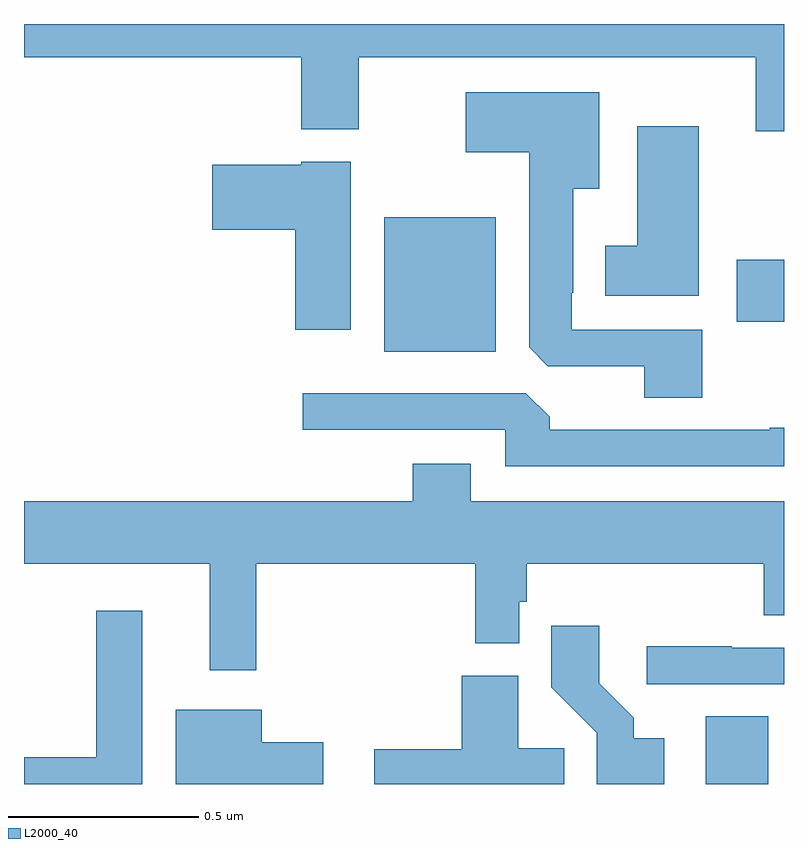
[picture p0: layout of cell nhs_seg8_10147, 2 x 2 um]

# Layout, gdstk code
import gdstk
lib = gdstk.Library(unit=1e-6, precision=1e-09)
def R(c, l, rs):  # rectangles x0, y0, x1, y1
    for r in rs: c.add(gdstk.rectangle(r[:2], r[2:], *l))
def P(c, l, *ps):  # polygons
    for p in ps: c.add(gdstk.Polygon(p, *l))
L2000_40 = (2000, 40)

nhs_seg8_10147 = lib.new_cell('nhs_seg8_10147')
R(nhs_seg8_10147, L2000_40, [(246.794,1135.9,246.958,1136.078), (245.948,1137.038,246.241,1137.391), (246.876,1137.116,247,1137.279)])
P(nhs_seg8_10147, L2000_40, [(247,1137.9),(245,1137.9),(245,1137.812),(245.729,1137.812),(245.729,1137.623),(245.881,1137.623),(245.881,1137.812),(246.926,1137.812),(246.926,1137.618),(247,1137.618)],
  [(246.785,1137.096),(246.441,1137.096),(246.441,1137.193),(246.445,1137.193),(246.445,1137.467),(246.514,1137.467),(246.514,1137.721),(246.162,1137.721),(246.162,1137.563),(246.329,1137.563),(246.329,1137.049),(246.378,1137),(246.632,1137),(246.632,1136.917),(246.785,1136.917)],
  [(246.775,1137.631),(246.614,1137.631),(246.614,1137.316),(246.53,1137.316),(246.53,1137.185),(246.775,1137.185)],
  [(245.86,1137.538),(245.73,1137.538),(245.73,1137.529),(245.496,1137.529),(245.496,1137.359),(245.714,1137.359),(245.714,1137.096),(245.86,1137.096)],
  [(247,1136.837),(246.962,1136.837),(246.962,1136.832),(246.383,1136.832),(246.383,1136.866),(246.321,1136.928),(245.733,1136.928),(245.733,1136.832),(246.267,1136.832),(246.267,1136.736),(247,1136.736)],
  [(246.175,1136.743),(246.023,1136.743),(246.023,1136.644),(245,1136.644),(245,1136.48),(245.489,1136.48),(245.489,1136.199),(245.611,1136.199),(245.611,1136.48),(246.187,1136.48),(246.187,1136.27),(246.303,1136.27),(246.303,1136.379),(246.323,1136.379),(246.323,1136.48),(246.947,1136.48),(246.947,1136.344),(247,1136.344),(247,1136.644),(246.175,1136.644)],
  [(245.311,1136.356),(245.19,1136.356),(245.19,1135.97),(245,1135.97),(245,1135.9),(245.311,1135.9)],
  [(246.685,1136.02),(246.604,1136.02),(246.604,1136.075),(246.514,1136.165),(246.514,1136.317),(246.388,1136.317),(246.388,1136.154),(246.507,1136.035),(246.507,1135.9),(246.685,1135.9)],
  [(247,1136.259),(246.863,1136.259),(246.863,1136.262),(246.639,1136.262),(246.639,1136.163),(247,1136.163)],
  [(246.422,1135.994),(246.301,1135.994),(246.301,1136.185),(246.152,1136.185),(246.152,1135.991),(245.922,1135.991),(245.922,1135.9),(246.422,1135.9)],
  [(245.788,1136.01),(245.626,1136.01),(245.626,1136.095),(245.399,1136.095),(245.399,1135.9),(245.788,1135.9)])

lib.write_gds('nhs_seg8_10147.gds')
